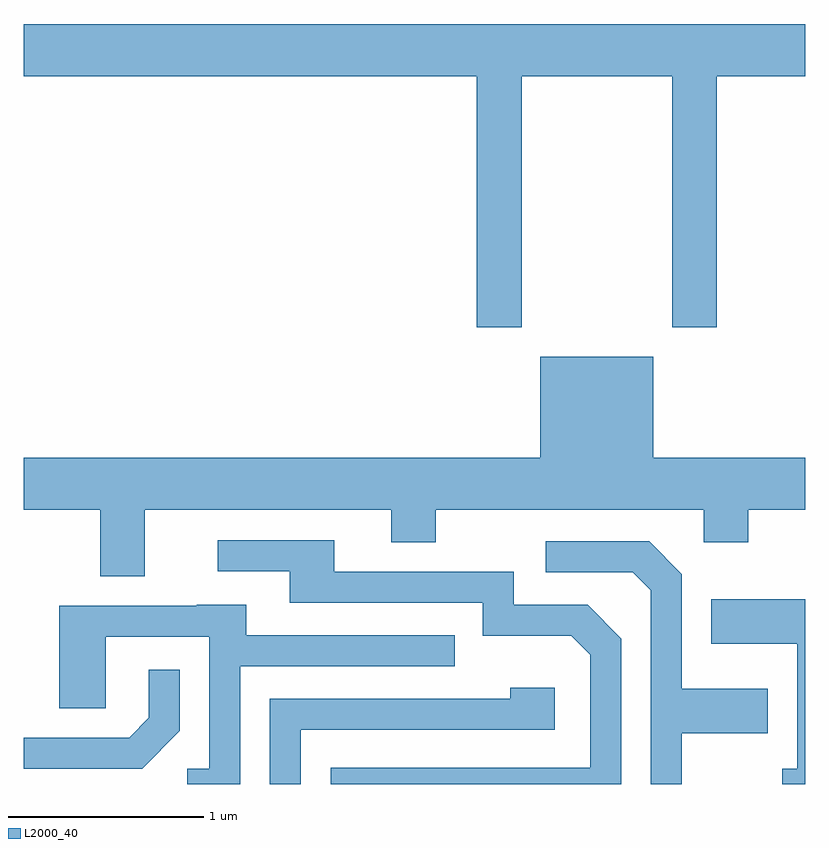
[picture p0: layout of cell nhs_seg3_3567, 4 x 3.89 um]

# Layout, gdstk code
import gdstk
lib = gdstk.Library(unit=1e-6, precision=1e-09)
def P(c, l, *ps):  # polygons
    for p in ps: c.add(gdstk.Polygon(p, *l))
L2000_40 = (2000, 40)

nhs_seg3_3567 = lib.new_cell('nhs_seg3_3567')
P(nhs_seg3_3567, L2000_40, [(292.159,1181.516),(292.931,1181.516),(292.931,1180.231),(293.159,1180.231),(293.159,1181.516),(293.611,1181.516),(293.611,1181.784),(289.611,1181.784),(289.611,1181.516),(291.931,1181.516),(291.931,1180.231),(292.159,1180.231)],
  [(290.229,1179.296),(291.491,1179.296),(291.491,1179.131),(291.719,1179.131),(291.719,1179.296),(293.091,1179.296),(293.091,1179.131),(293.319,1179.131),(293.319,1179.296),(293.611,1179.296),(293.611,1179.564),(292.834,1179.564),(292.834,1180.079),(292.256,1180.079),(292.256,1179.564),(289.611,1179.564),(289.611,1179.296),(290.001,1179.296),(290.001,1178.956),(290.229,1178.956)],
  [(292.669,1178.637),(292.497,1178.809),(292.119,1178.809),(292.119,1178.979),(291.199,1178.979),(291.199,1179.139),(290.603,1179.139),(290.603,1178.981),(290.971,1178.981),(290.971,1178.821),(291.961,1178.821),(291.961,1178.651),(292.414,1178.651),(292.511,1178.554),(292.511,1177.974),(291.181,1177.974),(291.181,1177.892),(292.669,1177.892)],
  [(292.979,1178.151),(293.419,1178.151),(293.419,1178.379),(292.979,1178.379),(292.979,1178.967),(292.812,1179.134),(292.283,1179.134),(292.283,1178.976),(292.729,1178.976),(292.821,1178.884),(292.821,1177.892),(292.979,1177.892)],
  [(293.611,1178.839),(293.131,1178.839),(293.131,1178.611),(293.571,1178.611),(293.571,1177.969),(293.493,1177.969),(293.493,1177.892),(293.611,1177.892)],
  [(290.719,1178.496),(291.818,1178.496),(291.818,1178.654),(290.749,1178.654),(290.749,1178.809),(290.495,1178.809),(290.495,1178.804),(289.791,1178.804),(289.791,1178.281),(290.029,1178.281),(290.029,1178.646),(290.561,1178.646),(290.561,1177.969),(290.448,1177.969),(290.448,1177.892),(290.719,1177.892)],
  [(290.409,1178.164),(290.409,1178.478),(290.251,1178.478),(290.251,1178.232),(290.149,1178.129),(289.611,1178.129),(289.611,1177.971),(290.217,1177.971)],
  [(291.029,1178.171),(292.329,1178.171),(292.329,1178.384),(292.101,1178.384),(292.101,1178.329),(290.871,1178.329),(290.871,1177.892),(291.029,1177.892)])

lib.write_gds('nhs_seg3_3567.gds')
